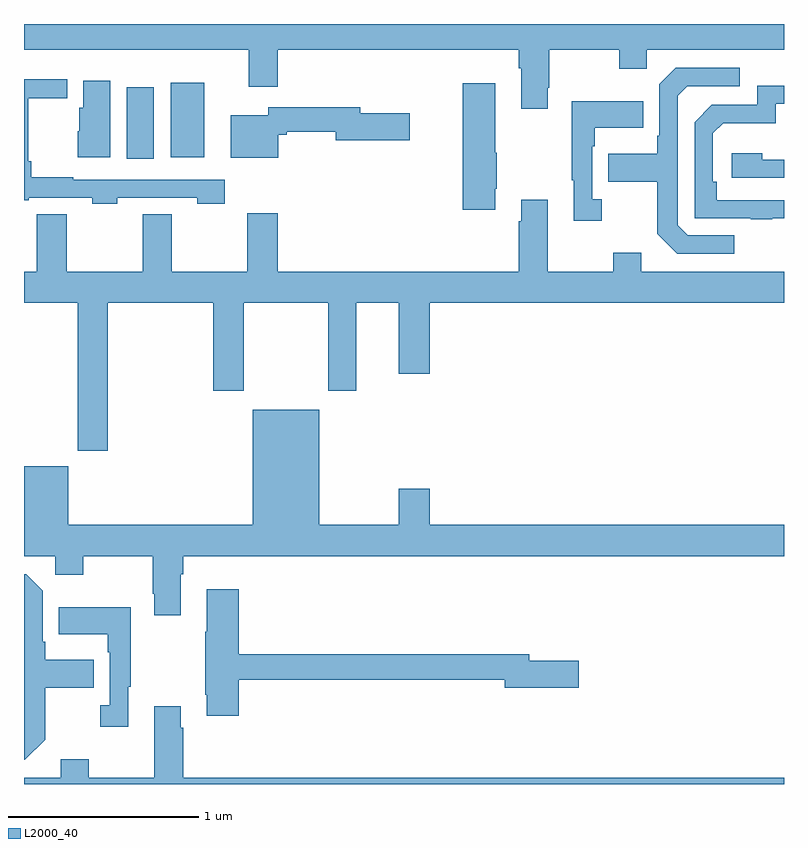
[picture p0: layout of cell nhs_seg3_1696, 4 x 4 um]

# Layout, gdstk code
import gdstk
lib = gdstk.Library(unit=1e-6, precision=1e-09)
def R(c, l, rs):  # rectangles x0, y0, x1, y1
    for r in rs: c.add(gdstk.rectangle(r[:2], r[2:], *l))
def P(c, l, *ps):  # polygons
    for p in ps: c.add(gdstk.Polygon(p, *l))
L2000_40 = (2000, 40)

nhs_seg3_1696 = lib.new_cell('nhs_seg3_1696')
R(nhs_seg3_1696, L2000_40, [(199.541,685.692,199.684,686.068), (199.772,685.7,199.948,686.092)])
P(nhs_seg3_1696, L2000_40, [(201.757,686.065),(201.765,686.065),(201.765,686.264),(202.132,686.264),(202.132,686.165),(202.278,686.165),(202.278,686.264),(203,686.264),(203,686.4),(199,686.4),(199,686.264),(200.183,686.264),(200.183,686.07),(200.336,686.07),(200.336,686.264),(201.605,686.264),(201.605,686.168),(201.617,686.168),(201.617,685.953),(201.757,685.953)],
  [(202.738,685.287),(202.494,685.287),(202.44,685.341),(202.44,686.022),(202.491,686.073),(202.768,686.073),(202.768,686.169),(202.431,686.169),(202.344,686.082),(202.344,685.813),(202.332,685.813),(202.332,685.717),(202.075,685.717),(202.075,685.57),(202.332,685.57),(202.332,685.297),(202.437,685.191),(202.738,685.191)],
  [(199.491,685.485),(199.911,685.485),(199.911,685.453),(200.056,685.453),(200.056,685.581),(199.259,685.581),(199.259,685.594),(199.037,685.594),(199.037,685.678),(199.022,685.678),(199.022,686.008),(199.228,686.008),(199.228,686.11),(199,686.11),(199,685.473),(199.024,685.473),(199.024,685.485),(199.359,685.485),(199.359,685.453),(199.491,685.453)],
  [(199.453,686.101),(199.313,686.101),(199.313,685.959),(199.292,685.959),(199.292,685.836),(199.283,685.836),(199.283,685.7),(199.453,685.7)],
  [(201.481,685.534),(201.489,685.534),(201.489,685.723),(201.481,685.723),(201.481,686.089),(201.308,686.089),(201.308,685.422),(201.481,685.422)],
  [(202.937,685.377),(203,685.377),(203,685.473),(202.646,685.473),(202.646,685.57),(202.626,685.57),(202.626,685.824),(202.679,685.877),(202.956,685.877),(202.956,685.98),(203,685.98),(203,686.076),(202.86,686.076),(202.86,685.974),(202.62,685.974),(202.53,685.884),(202.53,685.377),(202.825,685.377),(202.825,685.372),(202.937,685.372)],
  [(202.042,685.478),(201.99,685.478),(201.99,685.757),(202.003,685.757),(202.003,685.853),(202.259,685.853),(202.259,685.993),(201.882,685.993),(201.882,685.577),(201.893,685.577),(201.893,685.365),(202.042,685.365)],
  [(200.338,685.817),(200.383,685.817),(200.383,685.834),(200.642,685.834),(200.642,685.787),(201.031,685.787),(201.031,685.929),(200.77,685.929),(200.77,685.963),(200.285,685.963),(200.285,685.92),(200.087,685.92),(200.087,685.697),(200.338,685.697)],
  [(203,685.686),(202.886,685.686),(202.886,685.72),(202.725,685.72),(202.725,685.59),(203,685.59)],
  [(200.602,684.471),(200.749,684.471),(200.749,684.932),(200.972,684.932),(200.972,684.558),(201.136,684.558),(201.136,684.932),(203,684.932),(203,685.096),(202.249,685.096),(202.249,685.195),(202.102,685.195),(202.102,685.096),(201.757,685.096),(201.757,685.474),(201.617,685.474),(201.617,685.361),(201.605,685.361),(201.605,685.096),(200.336,685.096),(200.336,685.405),(200.176,685.405),(200.176,685.096),(199.778,685.096),(199.778,685.4),(199.624,685.4),(199.624,685.096),(199.226,685.096),(199.226,685.4),(199.067,685.4),(199.067,685.096),(199,685.096),(199,684.932),(199.282,684.932),(199.282,684.153),(199.442,684.153),(199.442,684.932),(199.997,684.932),(199.997,684.471),(200.157,684.471),(200.157,684.932),(200.602,684.932)],
  [(199.825,683.504),(199.838,683.504),(199.838,683.6),(203,683.6),(203,683.764),(201.136,683.764),(201.136,683.953),(200.972,683.953),(200.972,683.764),(200.554,683.764),(200.554,684.37),(200.204,684.37),(200.204,683.764),(199.234,683.764),(199.234,684.073),(199,684.073),(199,683.6),(199.164,683.6),(199.164,683.501),(199.311,683.501),(199.311,683.6),(199.678,683.6),(199.678,683.401),(199.685,683.401),(199.685,683.289),(199.825,683.289)],
  [(199.111,682.633),(199.111,682.906),(199.367,682.906),(199.367,683.053),(199.111,683.053),(199.111,683.149),(199.098,683.149),(199.098,683.418),(199.011,683.505),(199,683.505),(199,683.36),(199.002,683.358),(199.002,682.677),(199,682.675),(199,682.527),(199.005,682.527)],
  [(200.129,682.948),(201.53,682.948),(201.53,682.906),(201.919,682.906),(201.919,683.048),(201.658,683.048),(201.658,683.084),(200.129,683.084),(200.129,683.425),(199.961,683.425),(199.961,683.201),(199.954,683.201),(199.954,682.87),(199.961,682.87),(199.961,682.758),(200.129,682.758)],
  [(199.549,682.913),(199.561,682.913),(199.561,683.329),(199.183,683.329),(199.183,683.189),(199.44,683.189),(199.44,683.093),(199.452,683.093),(199.452,682.814),(199.401,682.814),(199.401,682.701),(199.549,682.701)],
  [(203,682.432),(199.838,682.432),(199.838,682.697),(199.825,682.697),(199.825,682.81),(199.685,682.81),(199.685,682.432),(199.341,682.432),(199.341,682.531),(199.193,682.531),(199.193,682.432),(199,682.432),(199,682.4),(203,682.4)])

lib.write_gds('nhs_seg3_1696.gds')
